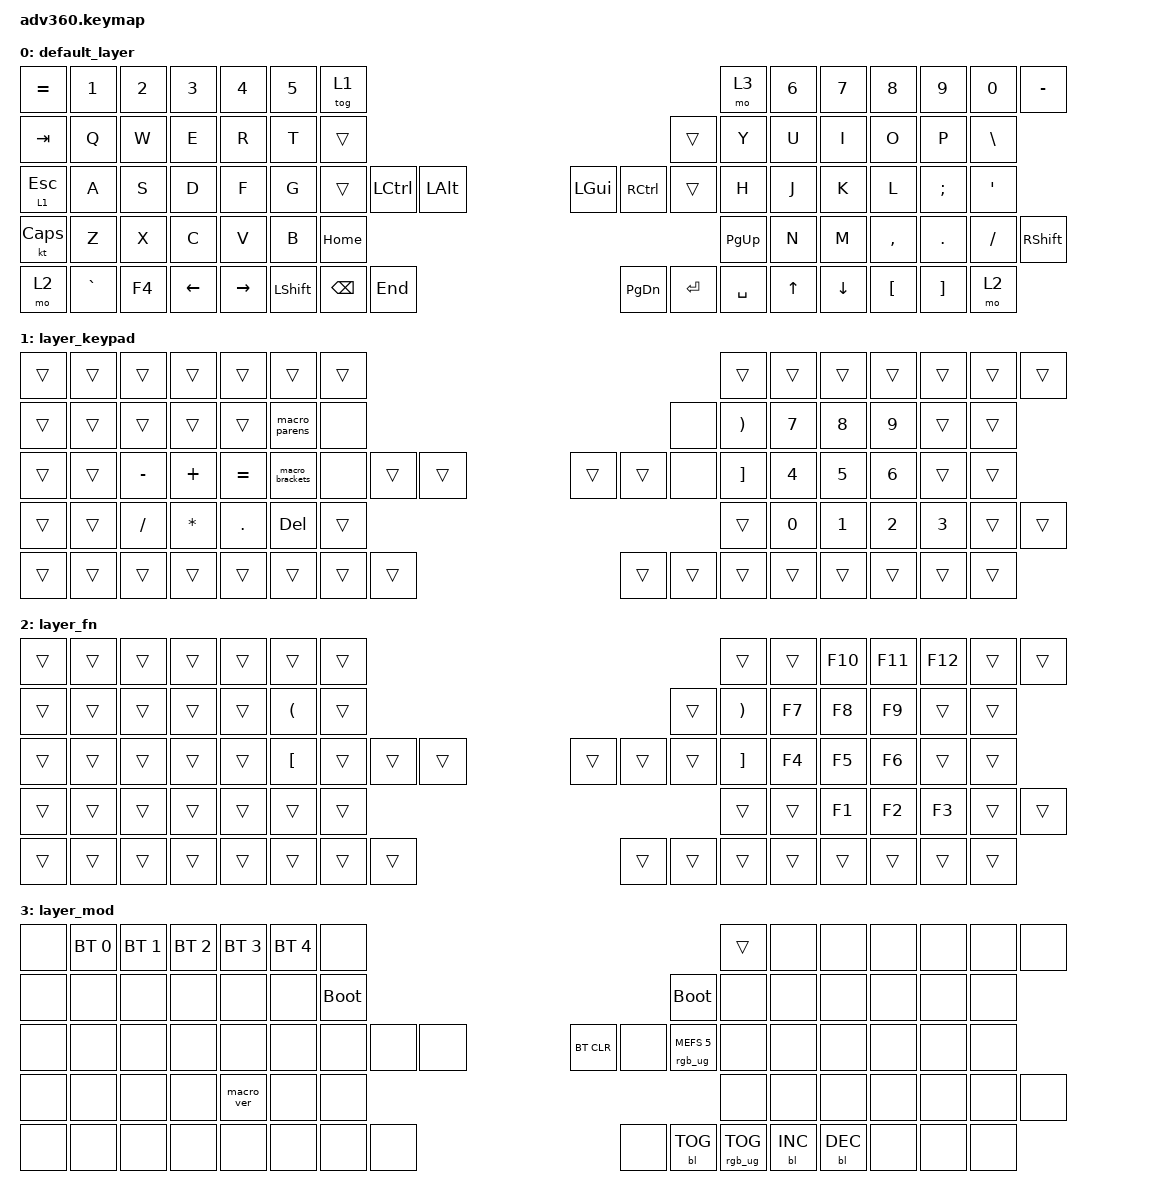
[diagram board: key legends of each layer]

/*
 * Copyright (c) 2020 The ZMK Contributors
 *
 * SPDX-License-Identifier: MIT
 */


/* THIS FILE WAS GENERATED!
 *
 * This file was generated automatically. You may or may not want to
 * edit it directly.
 */

#include <behaviors.dtsi>
#include <dt-bindings/zmk/keys.h>
#include <dt-bindings/zmk/keys.h>
#include <dt-bindings/zmk/bt.h>
#include <dt-bindings/zmk/rgb.h>
#include <dt-bindings/zmk/backlight.h>

/ {
  behaviors {
    #include "macros.dtsi"
    #include "version.dtsi"

    hm: homerow_mods {
        compatible = "zmk,behavior-hold-tap";
        label = "HOMEROW_MODS";
        #binding-cells = <2>;
        tapping-term-ms = <200>;
        quick_tap_ms = <175>;
        flavor = "tap-preferred";
        bindings = <&kp>, <&kp>;
    };
  };

    keymap {
        compatible = "zmk,keymap";


        default_layer {
            bindings = <
 &kp EQUAL     &kp N1  &kp N2    &kp N3     &kp N4  &kp N5                &tog 1                                                                 &mo 3  &kp N6  &kp N7     &kp N8    &kp N9    &kp N0  &kp MINUS
   &kp TAB      &kp Q   &kp W     &kp E      &kp R   &kp T                &trans                                                                &trans   &kp Y   &kp U      &kp I     &kp O     &kp P   &kp BSLH
 &lt 1 ESC      &kp A   &kp S     &kp D      &kp F   &kp G                &trans  &kp LCTRL  &kp LALT                   &kp LGUI  &kp RCTRL     &trans   &kp H   &kp J      &kp K     &kp L  &kp SEMI    &kp SQT
  &kt CAPS      &kp Z   &kp X     &kp C      &kp V   &kp B                                   &kp HOME                  &kp PG_UP                         &kp N   &kp M  &kp COMMA   &kp DOT  &kp FSLH  &kp RSHFT
     &mo 2  &kp GRAVE  &kp F4  &kp LEFT  &kp RIGHT                    &kp LSHIFT   &kp BSPC   &kp END                  &kp PG_DN  &kp ENTER  &kp SPACE          &kp UP   &kp DOWN  &kp LBKT  &kp RBKT      &mo 2
            >;
        };

        layer_keypad {
            bindings = <
 &trans  &trans     &trans        &trans      &trans           &trans            &trans                                                  &trans                 &trans  &trans  &trans  &trans  &trans  &trans
 &trans  &trans     &trans        &trans      &trans    &macro_parens             &none                                                   &none  &kp RIGHT_PARENTHESIS  &kp N7  &kp N8  &kp N9  &trans  &trans
 &trans  &trans  &kp MINUS      &kp PLUS   &kp EQUAL  &macro_brackets             &none  &trans  &trans                  &trans  &trans   &none      &kp RIGHT_BRACKET  &kp N4  &kp N5  &kp N6  &trans  &trans
 &trans  &trans  &kp SLASH  &kp ASTERISK  &kp PERIOD          &kp DEL                            &trans                  &trans                                 &kp N0  &kp N1  &kp N2  &kp N3  &trans  &trans
 &trans  &trans     &trans        &trans      &trans                             &trans  &trans  &trans                  &trans  &trans  &trans                         &trans  &trans  &trans  &trans  &trans
            >;
        };

        layer_fn {
            bindings = <
 &trans  &trans  &trans  &trans  &trans    &trans            &trans                                                  &trans    &trans  &kp F10  &kp F11  &kp F12  &trans  &trans
 &trans  &trans  &trans  &trans  &trans  &kp LPAR            &trans                                                  &trans  &kp RPAR   &kp F7   &kp F8   &kp F9  &trans  &trans
 &trans  &trans  &trans  &trans  &trans  &kp LBKT            &trans  &trans  &trans                  &trans  &trans  &trans  &kp RBKT   &kp F4   &kp F5   &kp F6  &trans  &trans
 &trans  &trans  &trans  &trans  &trans    &trans                            &trans                  &trans                    &trans   &kp F1   &kp F2   &kp F3  &trans  &trans
 &trans  &trans  &trans  &trans  &trans                      &trans  &trans  &trans                  &trans  &trans  &trans             &trans   &trans   &trans  &trans  &trans
            >;
        };

        layer_mod {
            bindings = <
  &none  &bt BT_SEL 0  &bt BT_SEL 1  &bt BT_SEL 2  &bt BT_SEL 3  &bt BT_SEL 4                  &none                                                                          &trans   &none       &none       &none   &none   &none   &none
  &none         &none         &none         &none         &none         &none            &bootloader                                                                     &bootloader   &none       &none       &none   &none   &none   &none
  &none         &none         &none         &none         &none         &none                  &none   &none   &none                  &bt BT_CLR       &none  &rgb_ug RGB_MEFS_CMD 5   &none       &none       &none   &none   &none   &none
  &none         &none         &none         &none    &macro_ver         &none                                  &none                       &none                                       &none       &none       &none   &none   &none   &none
  &none         &none         &none         &none         &none                                &none   &none   &none                       &none  &bl BL_TOG         &rgb_ug RGB_TOG          &bl BL_INC  &bl BL_DEC   &none   &none   &none
            >;
        };

    };
};
